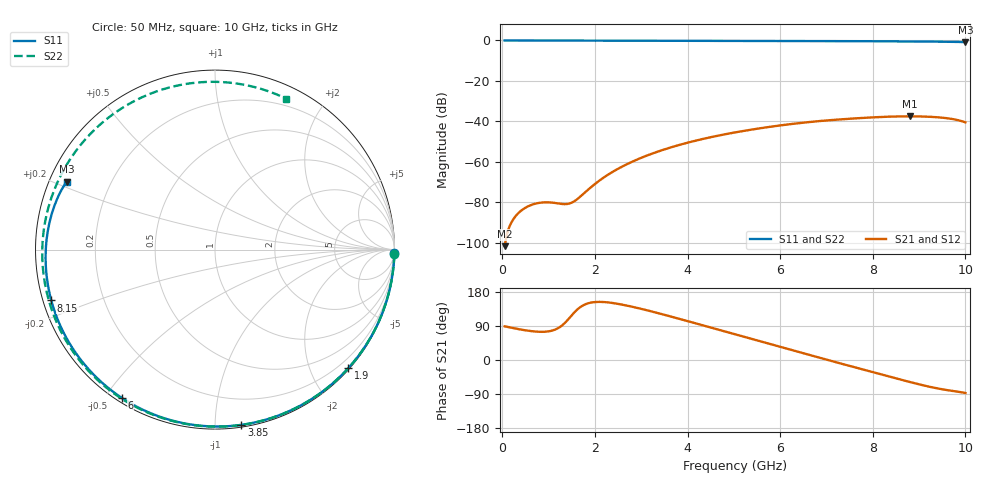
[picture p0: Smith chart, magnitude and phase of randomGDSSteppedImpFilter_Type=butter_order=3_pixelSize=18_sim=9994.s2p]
! freq	dB(S11)	phase(S11)	dB(S12)	phase(S12)
!  dB(S21)	phase(S21)	dB(S22)	phase(S22)
!S-par simulation data
#  GHz  S  DB  R 50
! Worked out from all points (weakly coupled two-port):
!   200 points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, 50 MHz to 10 GHz, reference 50 ohm
!   highest |S21| = -37.51 dB at 8.8 GHz (marker M1); lowest = -101.7 dB at 50 MHz (marker M2)
!   lowest |S11| = -0.8 dB at 10 GHz (marker M3), VSWR 21.12, Z = 2.48 + j10.9 ohm
!   |S11| at or under -10 dB: nowhere
!   |S22| runs from -0.6 to 0.0 dB; largest |S21 - S12| = 0
!   S11 on the Smith chart (normalised r, x): 50 MHz: open; 1.9 GHz: 0.02, -2.64; 3.85 GHz: 0.01, -1.16; 6 GHz: 0.02, -0.55; 8.15 GHz: 0.02, -0.15; 10 GHz: 0.05, +0.22
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0.05  -0.00 -1.1  -101.72 88.9  -101.72 88.9  -0.00 -1.5
0.75  -0.02 -16.6  -80.51 74.8  -80.51 74.8  -0.03 -21.7
1.5  -0.04 -33.0  -80.20 118.0  -80.20 118.0  -0.05 -43.0
1.6  -0.04 -35.1  -78.80 131.1  -78.80 131.1  -0.06 -45.8
1.75  -0.05 -38.4  -75.88 144.5  -75.88 144.5  -0.06 -50.0
1.9  -0.05 -41.6  -72.86 151.1  -72.86 151.1  -0.07 -54.2
2.2  -0.06 -47.9  -67.62 152.9  -67.62 152.9  -0.08 -62.4
2.55  -0.07 -55.2  -62.82 147.0  -62.82 147.0  -0.09 -72.0
2.95  -0.08 -63.4  -58.50 136.4  -58.50 136.4  -0.11 -82.7
3.4  -0.10 -72.5  -54.63 122.5  -54.63 122.5  -0.12 -94.6
3.85  -0.11 -81.4  -51.48 107.7  -51.48 107.7  -0.14 -106.4
4.45  -0.13 -93.1  -48.09 87.5  -48.09 87.5  -0.17 -122.0
5.05  -0.16 -104.5  -45.37 67.1  -45.37 67.1  -0.21 -137.6
6  -0.21 -122.2  -42.02 35.0  -42.02 35.0  -0.28 -163.0
6.7  -0.26 -135.2  -40.18 11.2  -40.18 11.2  -0.34 177.4
7.45  -0.33 -149.2  -38.78 -13.9  -38.78 -13.9  -0.41 154.9
8.15  -0.40 -162.8  -37.87 -36.8  -37.87 -36.8  -0.48 132.3
8.35  -0.42 -166.7  -37.69 -43.4  -37.69 -43.4  -0.50 125.5
8.8  -0.48 -176.0  -37.51 -58.1  -37.51 -58.1  -0.54 109.6
9.4  -0.59 170.7  -37.99 -75.0  -37.99 -75.0  -0.59 87.5
9.75  -0.69 162.2  -38.97 -82.0  -38.97 -82.0  -0.62 74.2
10  -0.82 155.4  -40.48 -87.1  -40.48 -87.1  -0.63 64.7
